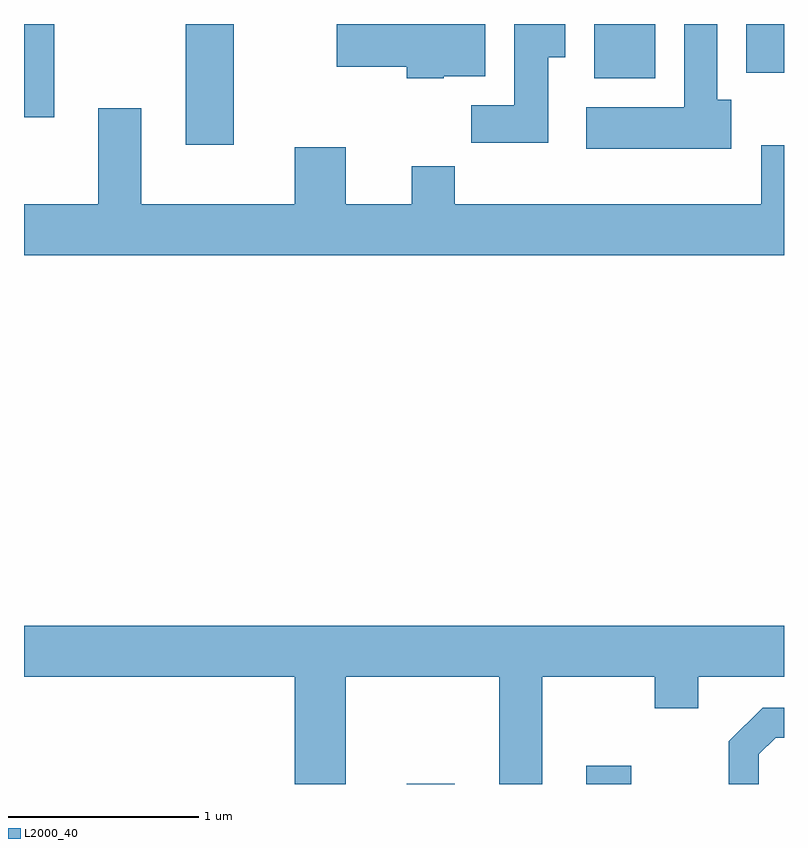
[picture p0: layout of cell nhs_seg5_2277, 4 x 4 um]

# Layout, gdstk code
import gdstk
lib = gdstk.Library(unit=1e-6, precision=1e-09)
def R(c, l, rs):  # rectangles x0, y0, x1, y1
    for r in rs: c.add(gdstk.rectangle(r[:2], r[2:], *l))
def P(c, l, *ps):  # polygons
    for p in ps: c.add(gdstk.Polygon(p, *l))
L2000_40 = (2000, 40)

nhs_seg5_2277 = lib.new_cell('nhs_seg5_2277')
R(nhs_seg5_2277, L2000_40, [(255.626,1394.072,255.879,1394.074), (256.571,1394.072,256.808,1394.169), (254.461,1397.436,254.714,1398.072), (253.611,1397.581,253.769,1398.072), (256.611,1397.786,256.934,1398.072), (257.411,1397.816,257.611,1398.072)])
P(nhs_seg5_2277, L2000_40, [(255.82,1397.796),(256.039,1397.796),(256.039,1398.072),(255.256,1398.072),(255.256,1397.846),(255.626,1397.846),(255.626,1397.786),(255.82,1397.786)],
  [(257.334,1397.674),(257.259,1397.674),(257.259,1398.072),(257.086,1398.072),(257.086,1397.634),(256.571,1397.634),(256.571,1397.416),(257.334,1397.416)],
  [(256.369,1397.896),(256.459,1397.896),(256.459,1398.072),(256.191,1398.072),(256.191,1397.644),(255.966,1397.644),(255.966,1397.446),(256.369,1397.446)],
  [(255.036,1397.424),(255.036,1397.124),(254.229,1397.124),(254.229,1397.629),(254.001,1397.629),(254.001,1397.124),(253.611,1397.124),(253.611,1396.856),(257.611,1396.856),(257.611,1397.434),(257.491,1397.434),(257.491,1397.124),(255.879,1397.124),(255.879,1397.324),(255.651,1397.324),(255.651,1397.124),(255.304,1397.124),(255.304,1397.424)],
  [(255.304,1394.636),(256.111,1394.636),(256.111,1394.072),(256.339,1394.072),(256.339,1394.636),(256.931,1394.636),(256.931,1394.471),(257.159,1394.471),(257.159,1394.636),(257.611,1394.636),(257.611,1394.904),(253.611,1394.904),(253.611,1394.636),(255.036,1394.636),(255.036,1394.072),(255.304,1394.072)],
  [(257.479,1394.229),(257.567,1394.316),(257.611,1394.316),(257.611,1394.474),(257.498,1394.474),(257.321,1394.297),(257.321,1394.072),(257.479,1394.072)])

lib.write_gds('nhs_seg5_2277.gds')
